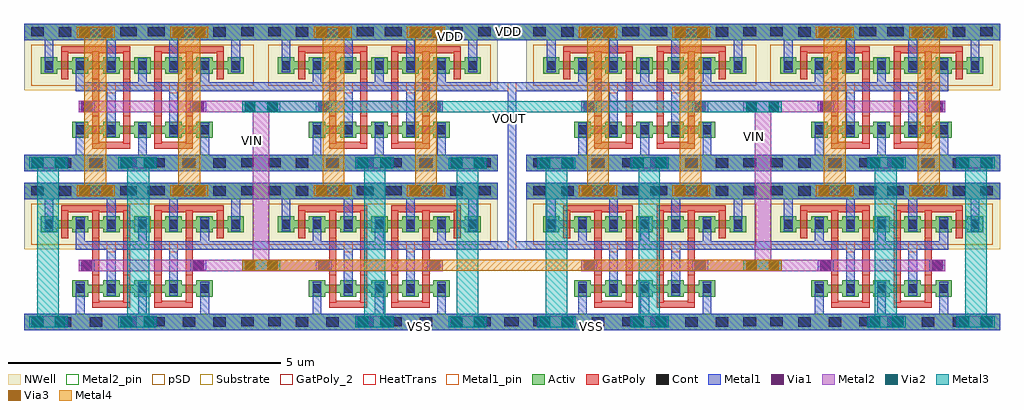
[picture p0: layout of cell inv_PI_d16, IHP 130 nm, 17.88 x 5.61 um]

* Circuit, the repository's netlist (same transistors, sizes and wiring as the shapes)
* Extracted by KLayout with SG13G2 LVS runset on : 20/01/2026 03:41

.SUBCKT inv_PI_d16 VDD VSS VOUT VIN
X$1 VOUT VIN VSS VDD inv_PI_d8
X$2 VOUT VIN VSS VDD inv_PI_d8
.ENDS inv_PI_d16

.SUBCKT inv_PI_d8 VOUT VIN VSS VDD
X$1 VSS VOUT VIN VDD inv_PI_d4
X$2 VSS VOUT VIN VDD inv_PI_d4
.ENDS inv_PI_d8

.SUBCKT inv_PI_d4 VSS VOUT VIN VDD
X$1 VSS VIN VOUT VDD inv_PI_d2
X$2 VSS VIN VOUT VDD inv_PI_d2
.ENDS inv_PI_d4

.SUBCKT inv_PI_d2 VSS VIN VOUT VDD
M$1 VSS VIN VOUT VSS sg13_lv_nmos L=0.13u W=0.6u AS=0.267p AD=0.267p PS=3.56u
+ PD=3.56u
M$5 VDD VIN VOUT VDD sg13_lv_pmos L=0.13u W=0.9u AS=0.378p AD=0.378p PS=5.04u
+ PD=5.04u
.ENDS inv_PI_d2

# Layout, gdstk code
from math import pi, radians
import gdstk
lib = gdstk.Library(unit=1e-6, precision=5e-09)
def R(c, l, rs):  # rectangles x0, y0, x1, y1
    for r in rs: c.add(gdstk.rectangle(r[:2], r[2:], *l))
def A(c, l, x, y, w, h, nx, ny, dx, dy):  # array of equal rectangles
    R(c, l, [(x+i*dx, y+j*dy, x+i*dx+w, y+j*dy+h) for i in range(nx) for j in range(ny)])
Activ = (1, 0)
GatPoly = (5, 0)
GatPoly_2 = (5, 2)
Cont = (6, 0)
Metal1 = (8, 0)
Metal1_pin = (8, 2)
Metal2 = (10, 0)
Metal2_pin = (10, 2)
pSD = (14, 0)
Via1 = (19, 0)
Via2 = (29, 0)
Metal3 = (30, 0)
NWell = (31, 0)
Substrate = (40, 0)
Via3 = (49, 0)
Metal4 = (50, 0)
HeatTrans = (51, 0)

pmos_1 = lib.new_cell('pmos$1')
A(pmos_1, Activ, 0, 0, 0.3, 0.3, 4, 1, 0.57, 0)
R(pmos_1, Activ, [(0,0.075,2.01,0.225)])
A(pmos_1, GatPoly, 0.37, -0.105, 0.13, 0.51, 3, 1, 0.57, 0)
R(pmos_1, GatPoly, [(0.37,-0.105,0.5,0.405)])
A(pmos_1, Cont, 0.07, 0.07, 0.16, 0.16, 4, 1, 0.57, 0)
A(pmos_1, Metal1, 0.64, 0.02, 0.16, 0.26, 3, 1, 0.57, 0)
R(pmos_1, Metal1, [(0.07,0.02,0.23,0.28), (0.07,0.02,0.23,0.28), (0.64,0.02,0.8,0.28)])
R(pmos_1, pSD, [(-0.18,-0.225,2.19,0.525)])
R(pmos_1, NWell, [(-0.31,-0.31,2.32,0.61)])
R(pmos_1, Substrate, [(1.71,0,2.01,0.3)])
A(pmos_1, HeatTrans, 0.37, -0.105, 0.13, 0.51, 3, 1, 0.57, 0)
pmos_1.add(gdstk.Label('pmos', (0.435,0.15), layer=63, texttype=0))
pmos_1.add(gdstk.Label('pmos', (0.435,0.15), layer=51, texttype=0))
pmos_1.add(gdstk.Label('pmos', (1.005,0.15), layer=51, texttype=0))
pmos_1.add(gdstk.Label('pmos', (1.575,0.15), layer=51, texttype=0))

nmos = lib.new_cell('nmos')
A(nmos, Activ, 0, 0, 0.3, 0.3, 3, 1, 0.57, 0)
R(nmos, Activ, [(0,0.075,1.44,0.225)])
R(nmos, GatPoly, [(0.37,-0.105,0.5,0.405), (0.94,-0.105,1.07,0.405)])
R(nmos, GatPoly_2, [(0.37,-0.105,0.5,0.405)])
A(nmos, Cont, 0.07, 0.07, 0.16, 0.16, 3, 1, 0.57, 0)
A(nmos, Metal1, 0.07, 0.02, 0.16, 0.26, 3, 1, 0.57, 0)
R(nmos, Metal1_pin, [(0.07,0.02,0.23,0.28), (0.64,0.02,0.8,0.28)])
R(nmos, HeatTrans, [(0.37,-0.105,0.5,0.405), (0.94,-0.105,1.07,0.405)])
nmos.add(gdstk.Label('nmos', (0.435,0.15), layer=63, texttype=0))
nmos.add(gdstk.Label('nmos', (0.435,0.15), layer=51, texttype=0))
nmos.add(gdstk.Label('nmos', (1.005,0.15), layer=51, texttype=0))

pmos_1_1 = lib.new_cell('pmos$1$1')
A(pmos_1_1, Activ, 0, 0, 0.3, 0.3, 4, 1, 0.57, 0)
R(pmos_1_1, Activ, [(0,0.075,2.01,0.225)])
A(pmos_1_1, GatPoly, 0.37, -0.105, 0.13, 0.51, 3, 1, 0.57, 0)
R(pmos_1_1, GatPoly, [(0.37,-0.105,0.5,0.405)])
A(pmos_1_1, Cont, 0.07, 0.07, 0.16, 0.16, 4, 1, 0.57, 0)
A(pmos_1_1, Metal1, 0.64, 0.02, 0.16, 0.26, 3, 1, 0.57, 0)
R(pmos_1_1, Metal1, [(0.07,0.02,0.23,0.28), (0.07,0.02,0.23,0.28), (0.64,0.02,0.8,0.28)])
R(pmos_1_1, pSD, [(-0.18,-0.225,2.19,0.525)])
R(pmos_1_1, NWell, [(-0.31,-0.31,2.32,0.61)])
R(pmos_1_1, Substrate, [(1.71,0,2.01,0.3)])
A(pmos_1_1, HeatTrans, 0.37, -0.105, 0.13, 0.51, 3, 1, 0.57, 0)
pmos_1_1.add(gdstk.Label('pmos', (0.435,0.15), layer=63, texttype=0))
pmos_1_1.add(gdstk.Label('pmos', (0.435,0.15), layer=51, texttype=0))
pmos_1_1.add(gdstk.Label('pmos', (1.005,0.15), layer=51, texttype=0))
pmos_1_1.add(gdstk.Label('pmos', (1.575,0.15), layer=51, texttype=0))

nmos_1 = lib.new_cell('nmos$1')
A(nmos_1, Activ, 0, 0, 0.3, 0.3, 3, 1, 0.57, 0)
R(nmos_1, Activ, [(0,0.075,1.44,0.225)])
R(nmos_1, GatPoly, [(0.37,-0.105,0.5,0.405), (0.94,-0.105,1.07,0.405)])
R(nmos_1, GatPoly_2, [(0.37,-0.105,0.5,0.405)])
A(nmos_1, Cont, 0.07, 0.07, 0.16, 0.16, 3, 1, 0.57, 0)
A(nmos_1, Metal1, 0.07, 0.02, 0.16, 0.26, 3, 1, 0.57, 0)
R(nmos_1, Metal1_pin, [(0.07,0.02,0.23,0.28), (0.64,0.02,0.8,0.28)])
R(nmos_1, HeatTrans, [(0.37,-0.105,0.5,0.405), (0.94,-0.105,1.07,0.405)])
nmos_1.add(gdstk.Label('nmos', (0.435,0.15), layer=63, texttype=0))
nmos_1.add(gdstk.Label('nmos', (0.435,0.15), layer=51, texttype=0))
nmos_1.add(gdstk.Label('nmos', (1.005,0.15), layer=51, texttype=0))

pmos_1_2 = lib.new_cell('pmos$1$2')
A(pmos_1_2, Activ, 0, 0, 0.3, 0.3, 4, 1, 0.57, 0)
R(pmos_1_2, Activ, [(0,0.075,2.01,0.225)])
A(pmos_1_2, GatPoly, 0.37, -0.105, 0.13, 0.51, 3, 1, 0.57, 0)
R(pmos_1_2, GatPoly, [(0.37,-0.105,0.5,0.405)])
A(pmos_1_2, Cont, 0.07, 0.07, 0.16, 0.16, 4, 1, 0.57, 0)
A(pmos_1_2, Metal1, 0.64, 0.02, 0.16, 0.26, 3, 1, 0.57, 0)
R(pmos_1_2, Metal1, [(0.07,0.02,0.23,0.28), (0.07,0.02,0.23,0.28), (0.64,0.02,0.8,0.28)])
R(pmos_1_2, pSD, [(-0.18,-0.225,2.19,0.525)])
R(pmos_1_2, NWell, [(-0.31,-0.31,2.32,0.61)])
R(pmos_1_2, Substrate, [(1.71,0,2.01,0.3)])
A(pmos_1_2, HeatTrans, 0.37, -0.105, 0.13, 0.51, 3, 1, 0.57, 0)
pmos_1_2.add(gdstk.Label('pmos', (0.435,0.15), layer=63, texttype=0))
pmos_1_2.add(gdstk.Label('pmos', (0.435,0.15), layer=51, texttype=0))
pmos_1_2.add(gdstk.Label('pmos', (1.005,0.15), layer=51, texttype=0))
pmos_1_2.add(gdstk.Label('pmos', (1.575,0.15), layer=51, texttype=0))

nmos_2 = lib.new_cell('nmos$2')
A(nmos_2, Activ, 0, 0, 0.3, 0.3, 3, 1, 0.57, 0)
R(nmos_2, Activ, [(0,0.075,1.44,0.225)])
R(nmos_2, GatPoly, [(0.37,-0.105,0.5,0.405), (0.94,-0.105,1.07,0.405)])
R(nmos_2, GatPoly_2, [(0.37,-0.105,0.5,0.405)])
A(nmos_2, Cont, 0.07, 0.07, 0.16, 0.16, 3, 1, 0.57, 0)
A(nmos_2, Metal1, 0.07, 0.02, 0.16, 0.26, 3, 1, 0.57, 0)
R(nmos_2, Metal1_pin, [(0.07,0.02,0.23,0.28), (0.64,0.02,0.8,0.28)])
R(nmos_2, HeatTrans, [(0.37,-0.105,0.5,0.405), (0.94,-0.105,1.07,0.405)])
nmos_2.add(gdstk.Label('nmos', (0.435,0.15), layer=63, texttype=0))
nmos_2.add(gdstk.Label('nmos', (0.435,0.15), layer=51, texttype=0))
nmos_2.add(gdstk.Label('nmos', (1.005,0.15), layer=51, texttype=0))

pmos_1_3 = lib.new_cell('pmos$1$3')
A(pmos_1_3, Activ, 0, 0, 0.3, 0.3, 4, 1, 0.57, 0)
R(pmos_1_3, Activ, [(0,0.075,2.01,0.225)])
A(pmos_1_3, GatPoly, 0.37, -0.105, 0.13, 0.51, 3, 1, 0.57, 0)
R(pmos_1_3, GatPoly, [(0.37,-0.105,0.5,0.405)])
A(pmos_1_3, Cont, 0.07, 0.07, 0.16, 0.16, 4, 1, 0.57, 0)
A(pmos_1_3, Metal1, 0.64, 0.02, 0.16, 0.26, 3, 1, 0.57, 0)
R(pmos_1_3, Metal1, [(0.07,0.02,0.23,0.28), (0.07,0.02,0.23,0.28), (0.64,0.02,0.8,0.28)])
R(pmos_1_3, pSD, [(-0.18,-0.225,2.19,0.525)])
R(pmos_1_3, NWell, [(-0.31,-0.31,2.32,0.61)])
R(pmos_1_3, Substrate, [(1.71,0,2.01,0.3)])
A(pmos_1_3, HeatTrans, 0.37, -0.105, 0.13, 0.51, 3, 1, 0.57, 0)
pmos_1_3.add(gdstk.Label('pmos', (0.435,0.15), layer=63, texttype=0))
pmos_1_3.add(gdstk.Label('pmos', (0.435,0.15), layer=51, texttype=0))
pmos_1_3.add(gdstk.Label('pmos', (1.005,0.15), layer=51, texttype=0))
pmos_1_3.add(gdstk.Label('pmos', (1.575,0.15), layer=51, texttype=0))

nmos_3 = lib.new_cell('nmos$3')
A(nmos_3, Activ, 0, 0, 0.3, 0.3, 3, 1, 0.57, 0)
R(nmos_3, Activ, [(0,0.075,1.44,0.225)])
R(nmos_3, GatPoly, [(0.37,-0.105,0.5,0.405), (0.94,-0.105,1.07,0.405)])
R(nmos_3, GatPoly_2, [(0.37,-0.105,0.5,0.405)])
A(nmos_3, Cont, 0.07, 0.07, 0.16, 0.16, 3, 1, 0.57, 0)
A(nmos_3, Metal1, 0.07, 0.02, 0.16, 0.26, 3, 1, 0.57, 0)
R(nmos_3, Metal1_pin, [(0.07,0.02,0.23,0.28), (0.64,0.02,0.8,0.28)])
R(nmos_3, HeatTrans, [(0.37,-0.105,0.5,0.405), (0.94,-0.105,1.07,0.405)])
nmos_3.add(gdstk.Label('nmos', (0.435,0.15), layer=63, texttype=0))
nmos_3.add(gdstk.Label('nmos', (0.435,0.15), layer=51, texttype=0))
nmos_3.add(gdstk.Label('nmos', (1.005,0.15), layer=51, texttype=0))

pmos_1_4 = lib.new_cell('pmos$1$4')
A(pmos_1_4, Activ, 0, 0, 0.3, 0.3, 4, 1, 0.57, 0)
R(pmos_1_4, Activ, [(0,0.075,2.01,0.225)])
A(pmos_1_4, GatPoly, 0.37, -0.105, 0.13, 0.51, 3, 1, 0.57, 0)
R(pmos_1_4, GatPoly, [(0.37,-0.105,0.5,0.405)])
A(pmos_1_4, Cont, 0.07, 0.07, 0.16, 0.16, 4, 1, 0.57, 0)
A(pmos_1_4, Metal1, 0.64, 0.02, 0.16, 0.26, 3, 1, 0.57, 0)
R(pmos_1_4, Metal1, [(0.07,0.02,0.23,0.28), (0.07,0.02,0.23,0.28), (0.64,0.02,0.8,0.28)])
R(pmos_1_4, pSD, [(-0.18,-0.225,2.19,0.525)])
R(pmos_1_4, NWell, [(-0.31,-0.31,2.32,0.61)])
R(pmos_1_4, Substrate, [(1.71,0,2.01,0.3)])
A(pmos_1_4, HeatTrans, 0.37, -0.105, 0.13, 0.51, 3, 1, 0.57, 0)
pmos_1_4.add(gdstk.Label('pmos', (0.435,0.15), layer=63, texttype=0))
pmos_1_4.add(gdstk.Label('pmos', (0.435,0.15), layer=51, texttype=0))
pmos_1_4.add(gdstk.Label('pmos', (1.005,0.15), layer=51, texttype=0))
pmos_1_4.add(gdstk.Label('pmos', (1.575,0.15), layer=51, texttype=0))

nmos_4 = lib.new_cell('nmos$4')
A(nmos_4, Activ, 0, 0, 0.3, 0.3, 3, 1, 0.57, 0)
R(nmos_4, Activ, [(0,0.075,1.44,0.225)])
R(nmos_4, GatPoly, [(0.37,-0.105,0.5,0.405), (0.94,-0.105,1.07,0.405)])
R(nmos_4, GatPoly_2, [(0.37,-0.105,0.5,0.405)])
A(nmos_4, Cont, 0.07, 0.07, 0.16, 0.16, 3, 1, 0.57, 0)
A(nmos_4, Metal1, 0.07, 0.02, 0.16, 0.26, 3, 1, 0.57, 0)
R(nmos_4, Metal1_pin, [(0.07,0.02,0.23,0.28), (0.64,0.02,0.8,0.28)])
R(nmos_4, HeatTrans, [(0.37,-0.105,0.5,0.405), (0.94,-0.105,1.07,0.405)])
nmos_4.add(gdstk.Label('nmos', (0.435,0.15), layer=63, texttype=0))
nmos_4.add(gdstk.Label('nmos', (0.435,0.15), layer=51, texttype=0))
nmos_4.add(gdstk.Label('nmos', (1.005,0.15), layer=51, texttype=0))

pmos_1_1_1 = lib.new_cell('pmos$1$1$1')
A(pmos_1_1_1, Activ, 0, 0, 0.3, 0.3, 4, 1, 0.57, 0)
R(pmos_1_1_1, Activ, [(0,0.075,2.01,0.225)])
A(pmos_1_1_1, GatPoly, 0.37, -0.105, 0.13, 0.51, 3, 1, 0.57, 0)
R(pmos_1_1_1, GatPoly, [(0.37,-0.105,0.5,0.405)])
A(pmos_1_1_1, Cont, 0.07, 0.07, 0.16, 0.16, 4, 1, 0.57, 0)
A(pmos_1_1_1, Metal1, 0.64, 0.02, 0.16, 0.26, 3, 1, 0.57, 0)
R(pmos_1_1_1, Metal1, [(0.07,0.02,0.23,0.28), (0.07,0.02,0.23,0.28), (0.64,0.02,0.8,0.28)])
R(pmos_1_1_1, pSD, [(-0.18,-0.225,2.19,0.525)])
R(pmos_1_1_1, NWell, [(-0.31,-0.31,2.32,0.61)])
R(pmos_1_1_1, Substrate, [(1.71,0,2.01,0.3)])
A(pmos_1_1_1, HeatTrans, 0.37, -0.105, 0.13, 0.51, 3, 1, 0.57, 0)
pmos_1_1_1.add(gdstk.Label('pmos', (0.435,0.15), layer=63, texttype=0))
pmos_1_1_1.add(gdstk.Label('pmos', (0.435,0.15), layer=51, texttype=0))
pmos_1_1_1.add(gdstk.Label('pmos', (1.005,0.15), layer=51, texttype=0))
pmos_1_1_1.add(gdstk.Label('pmos', (1.575,0.15), layer=51, texttype=0))

nmos_1_1 = lib.new_cell('nmos$1$1')
A(nmos_1_1, Activ, 0, 0, 0.3, 0.3, 3, 1, 0.57, 0)
R(nmos_1_1, Activ, [(0,0.075,1.44,0.225)])
R(nmos_1_1, GatPoly, [(0.37,-0.105,0.5,0.405), (0.94,-0.105,1.07,0.405)])
R(nmos_1_1, GatPoly_2, [(0.37,-0.105,0.5,0.405)])
A(nmos_1_1, Cont, 0.07, 0.07, 0.16, 0.16, 3, 1, 0.57, 0)
A(nmos_1_1, Metal1, 0.07, 0.02, 0.16, 0.26, 3, 1, 0.57, 0)
R(nmos_1_1, Metal1_pin, [(0.07,0.02,0.23,0.28), (0.64,0.02,0.8,0.28)])
R(nmos_1_1, HeatTrans, [(0.37,-0.105,0.5,0.405), (0.94,-0.105,1.07,0.405)])
nmos_1_1.add(gdstk.Label('nmos', (0.435,0.15), layer=63, texttype=0))
nmos_1_1.add(gdstk.Label('nmos', (0.435,0.15), layer=51, texttype=0))
nmos_1_1.add(gdstk.Label('nmos', (1.005,0.15), layer=51, texttype=0))

pmos_1_5 = lib.new_cell('pmos$1$5')
A(pmos_1_5, Activ, 0, 0, 0.3, 0.3, 4, 1, 0.57, 0)
R(pmos_1_5, Activ, [(0,0.075,2.01,0.225)])
A(pmos_1_5, GatPoly, 0.37, -0.105, 0.13, 0.51, 3, 1, 0.57, 0)
R(pmos_1_5, GatPoly, [(0.37,-0.105,0.5,0.405)])
A(pmos_1_5, Cont, 0.07, 0.07, 0.16, 0.16, 4, 1, 0.57, 0)
A(pmos_1_5, Metal1, 0.64, 0.02, 0.16, 0.26, 3, 1, 0.57, 0)
R(pmos_1_5, Metal1, [(0.07,0.02,0.23,0.28), (0.07,0.02,0.23,0.28), (0.64,0.02,0.8,0.28)])
R(pmos_1_5, pSD, [(-0.18,-0.225,2.19,0.525)])
R(pmos_1_5, NWell, [(-0.31,-0.31,2.32,0.61)])
R(pmos_1_5, Substrate, [(1.71,0,2.01,0.3)])
A(pmos_1_5, HeatTrans, 0.37, -0.105, 0.13, 0.51, 3, 1, 0.57, 0)
pmos_1_5.add(gdstk.Label('pmos', (0.435,0.15), layer=63, texttype=0))
pmos_1_5.add(gdstk.Label('pmos', (0.435,0.15), layer=51, texttype=0))
pmos_1_5.add(gdstk.Label('pmos', (1.005,0.15), layer=51, texttype=0))
pmos_1_5.add(gdstk.Label('pmos', (1.575,0.15), layer=51, texttype=0))

nmos_5 = lib.new_cell('nmos$5')
A(nmos_5, Activ, 0, 0, 0.3, 0.3, 3, 1, 0.57, 0)
R(nmos_5, Activ, [(0,0.075,1.44,0.225)])
R(nmos_5, GatPoly, [(0.37,-0.105,0.5,0.405), (0.94,-0.105,1.07,0.405)])
R(nmos_5, GatPoly_2, [(0.37,-0.105,0.5,0.405)])
A(nmos_5, Cont, 0.07, 0.07, 0.16, 0.16, 3, 1, 0.57, 0)
A(nmos_5, Metal1, 0.07, 0.02, 0.16, 0.26, 3, 1, 0.57, 0)
R(nmos_5, Metal1_pin, [(0.07,0.02,0.23,0.28), (0.64,0.02,0.8,0.28)])
R(nmos_5, HeatTrans, [(0.37,-0.105,0.5,0.405), (0.94,-0.105,1.07,0.405)])
nmos_5.add(gdstk.Label('nmos', (0.435,0.15), layer=63, texttype=0))
nmos_5.add(gdstk.Label('nmos', (0.435,0.15), layer=51, texttype=0))
nmos_5.add(gdstk.Label('nmos', (1.005,0.15), layer=51, texttype=0))

pmos_1_6 = lib.new_cell('pmos$1$6')
A(pmos_1_6, Activ, 0, 0, 0.3, 0.3, 4, 1, 0.57, 0)
R(pmos_1_6, Activ, [(0,0.075,2.01,0.225)])
A(pmos_1_6, GatPoly, 0.37, -0.105, 0.13, 0.51, 3, 1, 0.57, 0)
R(pmos_1_6, GatPoly, [(0.37,-0.105,0.5,0.405)])
A(pmos_1_6, Cont, 0.07, 0.07, 0.16, 0.16, 4, 1, 0.57, 0)
A(pmos_1_6, Metal1, 0.64, 0.02, 0.16, 0.26, 3, 1, 0.57, 0)
R(pmos_1_6, Metal1, [(0.07,0.02,0.23,0.28), (0.07,0.02,0.23,0.28), (0.64,0.02,0.8,0.28)])
R(pmos_1_6, pSD, [(-0.18,-0.225,2.19,0.525)])
R(pmos_1_6, NWell, [(-0.31,-0.31,2.32,0.61)])
R(pmos_1_6, Substrate, [(1.71,0,2.01,0.3)])
A(pmos_1_6, HeatTrans, 0.37, -0.105, 0.13, 0.51, 3, 1, 0.57, 0)
pmos_1_6.add(gdstk.Label('pmos', (0.435,0.15), layer=63, texttype=0))
pmos_1_6.add(gdstk.Label('pmos', (0.435,0.15), layer=51, texttype=0))
pmos_1_6.add(gdstk.Label('pmos', (1.005,0.15), layer=51, texttype=0))
pmos_1_6.add(gdstk.Label('pmos', (1.575,0.15), layer=51, texttype=0))

nmos_6 = lib.new_cell('nmos$6')
A(nmos_6, Activ, 0, 0, 0.3, 0.3, 3, 1, 0.57, 0)
R(nmos_6, Activ, [(0,0.075,1.44,0.225)])
R(nmos_6, GatPoly, [(0.37,-0.105,0.5,0.405), (0.94,-0.105,1.07,0.405)])
R(nmos_6, GatPoly_2, [(0.37,-0.105,0.5,0.405)])
A(nmos_6, Cont, 0.07, 0.07, 0.16, 0.16, 3, 1, 0.57, 0)
A(nmos_6, Metal1, 0.07, 0.02, 0.16, 0.26, 3, 1, 0.57, 0)
R(nmos_6, Metal1_pin, [(0.07,0.02,0.23,0.28), (0.64,0.02,0.8,0.28)])
R(nmos_6, HeatTrans, [(0.37,-0.105,0.5,0.405), (0.94,-0.105,1.07,0.405)])
nmos_6.add(gdstk.Label('nmos', (0.435,0.15), layer=63, texttype=0))
nmos_6.add(gdstk.Label('nmos', (0.435,0.15), layer=51, texttype=0))
nmos_6.add(gdstk.Label('nmos', (1.005,0.15), layer=51, texttype=0))

inv_pi = lib.new_cell('inv_PI')
R(inv_pi, Activ, [(1.76,2.245,4.39,2.545), (1.76,2.245,4.39,2.545), (1.76,2.245,4.39,2.545), (1.76,2.245,4.39,2.545), (1.76,2.245,4.39,2.545), (1.76,2.245,4.39,2.545), (1.76,2.245,4.39,2.545), (1.76,2.245,4.39,2.545), (1.76,4.645,4.39,4.945), (1.76,4.645,4.39,4.945), (1.76,4.645,4.39,4.945), (1.76,4.645,4.39,4.945), (1.76,4.645,4.39,4.945), (1.76,4.645,4.39,4.945), (1.76,4.645,4.39,4.945), (1.76,4.645,4.39,4.945)])
R(inv_pi, GatPoly, [(3.01,2.655,3.14,4.535), (3.01,2.655,3.14,4.535), (3.01,2.655,3.14,4.535), (3.01,2.655,3.14,4.535), (3.01,2.655,3.14,4.535), (3.01,2.655,3.14,4.535), (3.01,2.655,3.14,4.535), (3.01,2.655,3.14,4.535), (3.01,2.655,3.71,2.785), (3.01,2.655,3.71,2.785), (3.01,2.655,3.71,2.785), (3.01,2.655,3.71,2.785), (3.01,2.655,3.71,2.785), (3.01,2.655,3.71,2.785), (3.01,2.655,3.71,2.785), (3.01,2.655,3.71,2.785), (3.58,2.655,3.71,4.535), (3.58,2.655,3.71,4.535), (3.58,2.655,3.71,4.535), (3.58,2.655,3.71,4.535), (3.58,2.655,3.71,4.535), (3.58,2.655,3.71,4.535), (3.58,2.655,3.71,4.535), (3.58,2.655,3.71,4.535), (2.81,3.33,3.01,3.53), (2.81,3.33,3.01,3.53), (2.81,3.33,3.01,3.53), (2.81,3.33,3.01,3.53), (2.81,3.33,3.01,3.53), (2.81,3.33,3.01,3.53), (2.81,3.33,3.01,3.53), (2.81,3.33,3.01,3.53), (2.44,3.93,2.57,4.535), (2.44,3.93,2.57,4.535), (2.44,3.93,2.57,4.535), (2.44,3.93,2.57,4.535), (2.44,3.93,2.57,4.535), (2.44,3.93,2.57,4.535), (2.44,3.93,2.57,4.535), (2.44,3.93,2.57,4.535), (2.44,4.405,3.71,4.535), (2.44,4.405,3.71,4.535), (2.44,4.405,3.71,4.535), (2.44,4.405,3.71,4.535), (2.44,4.405,3.71,4.535), (2.44,4.405,3.71,4.535), (2.44,4.405,3.71,4.535), (2.44,4.405,3.71,4.535)])
R(inv_pi, Cont, [(2.4,2.31,2.63,2.48), (2.4,2.31,2.63,2.48), (2.4,2.31,2.63,2.48), (2.4,2.31,2.63,2.48), (2.4,2.31,2.63,2.48), (2.4,2.31,2.63,2.48), (2.4,2.31,2.63,2.48), (2.4,2.31,2.63,2.48), (2.96,2.31,3.19,2.48), (2.96,2.31,3.19,2.48), (2.96,2.31,3.19,2.48), (2.96,2.31,3.19,2.48), (2.96,2.31,3.19,2.48), (2.96,2.31,3.19,2.48), (2.96,2.31,3.19,2.48), (2.96,2.31,3.19,2.48), (1.89,2.315,2.12,2.485), (1.89,2.315,2.12,2.485), (1.89,2.315,2.12,2.485), (1.89,2.315,2.12,2.485), (1.89,2.315,2.12,2.485), (1.89,2.315,2.12,2.485), (1.89,2.315,2.12,2.485), (1.89,2.315,2.12,2.485), (3.52,2.315,3.75,2.485), (3.52,2.315,3.75,2.485), (3.52,2.315,3.75,2.485), (3.52,2.315,3.75,2.485), (3.52,2.315,3.75,2.485), (3.52,2.315,3.75,2.485), (3.52,2.315,3.75,2.485), (3.52,2.315,3.75,2.485), (4.03,2.315,4.26,2.485), (4.03,2.315,4.26,2.485), (4.03,2.315,4.26,2.485), (4.03,2.315,4.26,2.485), (4.03,2.315,4.26,2.485), (4.03,2.315,4.26,2.485), (4.03,2.315,4.26,2.485), (4.03,2.315,4.26,2.485), (2.81,3.33,3.01,3.53), (2.81,3.33,3.01,3.53), (2.81,3.33,3.01,3.53), (2.81,3.33,3.01,3.53), (2.81,3.33,3.01,3.53), (2.81,3.33,3.01,3.53), (2.81,3.33,3.01,3.53), (2.81,3.33,3.01,3.53), (2.4,4.71,2.63,4.88), (2.4,4.71,2.63,4.88), (2.4,4.71,2.63,4.88), (2.4,4.71,2.63,4.88), (2.4,4.71,2.63,4.88), (2.4,4.71,2.63,4.88), (2.4,4.71,2.63,4.88), (2.4,4.71,2.63,4.88), (2.96,4.71,3.19,4.88), (2.96,4.71,3.19,4.88), (2.96,4.71,3.19,4.88), (2.96,4.71,3.19,4.88), (2.96,4.71,3.19,4.88), (2.96,4.71,3.19,4.88), (2.96,4.71,3.19,4.88), (2.96,4.71,3.19,4.88), (1.89,4.715,2.12,4.885), (1.89,4.715,2.12,4.885), (1.89,4.715,2.12,4.885), (1.89,4.715,2.12,4.885), (1.89,4.715,2.12,4.885), (1.89,4.715,2.12,4.885), (1.89,4.715,2.12,4.885), (1.89,4.715,2.12,4.885), (3.52,4.715,3.75,4.885), (3.52,4.715,3.75,4.885), (3.52,4.715,3.75,4.885), (3.52,4.715,3.75,4.885), (3.52,4.715,3.75,4.885), (3.52,4.715,3.75,4.885), (3.52,4.715,3.75,4.885), (3.52,4.715,3.75,4.885), (4.03,4.715,4.26,4.885), (4.03,4.715,4.26,4.885), (4.03,4.715,4.26,4.885), (4.03,4.715,4.26,4.885), (4.03,4.715,4.26,4.885), (4.03,4.715,4.26,4.885), (4.03,4.715,4.26,4.885), (4.03,4.715,4.26,4.885)])
R(inv_pi, Metal1, [(1.76,2.245,4.39,2.545), (1.76,2.245,4.39,2.545), (1.76,2.245,4.39,2.545), (1.76,2.245,4.39,2.545), (1.76,2.245,4.39,2.545), (1.76,2.245,4.39,2.545), (1.76,2.245,4.39,2.545), (1.76,2.245,4.39,2.545), (2.71,2.245,2.87,3.135), (2.71,2.245,2.87,3.135), (2.71,2.245,2.87,3.135), (2.71,2.245,2.87,3.135), (2.71,2.245,2.87,3.135), (2.71,2.245,2.87,3.135), (2.71,2.245,2.87,3.135), (2.71,2.245,2.87,3.135), (3.85,2.245,4.01,3.135), (3.85,2.245,4.01,3.135), (3.85,2.245,4.01,3.135), (3.85,2.245,4.01,3.135), (3.85,2.245,4.01,3.135), (3.85,2.245,4.01,3.135), (3.85,2.245,4.01,3.135), (3.85,2.245,4.01,3.135), (3.28,2.885,3.44,3.875), (3.28,2.885,3.44,3.875), (3.28,2.885,3.44,3.875), (3.28,2.885,3.44,3.875), (3.28,2.885,3.44,3.875), (3.28,2.885,3.44,3.875), (3.28,2.885,3.44,3.875), (3.28,2.885,3.44,3.875), (2.81,3.33,3.01,3.53), (2.81,3.33,3.01,3.53), (2.81,3.33,3.01,3.53), (2.81,3.33,3.01,3.53), (2.81,3.33,3.01,3.53), (2.81,3.33,3.01,3.53), (2.81,3.33,3.01,3.53), (2.81,3.33,3.01,3.53), (2.71,3.715,4.01,3.875), (2.71,3.715,4.01,3.875), (2.71,3.715,4.01,3.875), (2.71,3.715,4.01,3.875), (2.71,3.715,4.01,3.875), (2.71,3.715,4.01,3.875), (2.71,3.715,4.01,3.875), (2.71,3.715,4.01,3.875), (2.71,3.72,2.87,4.315), (2.71,3.72,2.87,4.315), (2.71,3.72,2.87,4.315), (2.71,3.72,2.87,4.315), (2.71,3.72,2.87,4.315), (2.71,3.72,2.87,4.315), (2.71,3.72,2.87,4.315), (2.71,3.72,2.87,4.315), (3.85,3.72,4.01,4.315), (3.85,3.72,4.01,4.315), (3.85,3.72,4.01,4.315), (3.85,3.72,4.01,4.315), (3.85,3.72,4.01,4.315), (3.85,3.72,4.01,4.315), (3.85,3.72,4.01,4.315), (3.85,3.72,4.01,4.315), (2.14,4.105,2.3,4.945), (2.14,4.105,2.3,4.945), (2.14,4.105,2.3,4.945), (2.14,4.105,2.3,4.945), (2.14,4.105,2.3,4.945), (2.14,4.105,2.3,4.945), (2.14,4.105,2.3,4.945), (2.14,4.105,2.3,4.945), (3.28,4.105,3.44,4.945), (3.28,4.105,3.44,4.945), (3.28,4.105,3.44,4.945), (3.28,4.105,3.44,4.945), (3.28,4.105,3.44,4.945), (3.28,4.105,3.44,4.945), (3.28,4.105,3.44,4.945), (3.28,4.105,3.44,4.945), (1.76,4.645,4.39,4.945), (1.76,4.645,4.39,4.945), (1.76,4.645,4.39,4.945), (1.76,4.645,4.39,4.945), (1.76,4.645,4.39,4.945), (1.76,4.645,4.39,4.945), (1.76,4.645,4.39,4.945), (1.76,4.645,4.39,4.945)])
R(inv_pi, Metal1_pin, [(1.76,2.245,4.39,2.545), (1.76,2.245,4.39,2.545), (1.76,2.245,4.39,2.545), (1.76,2.245,4.39,2.545), (1.76,2.245,4.39,2.545), (1.76,2.245,4.39,2.545), (1.76,2.245,4.39,2.545), (1.76,2.245,4.39,2.545), (2.81,3.33,3.01,3.53), (2.81,3.33,3.01,3.53), (2.81,3.33,3.01,3.53), (2.81,3.33,3.01,3.53), (2.81,3.33,3.01,3.53), (2.81,3.33,3.01,3.53), (2.81,3.33,3.01,3.53), (2.81,3.33,3.01,3.53), (3.28,3.675,3.44,3.875), (3.28,3.675,3.44,3.875), (3.28,3.675,3.44,3.875), (3.28,3.675,3.44,3.875), (3.28,3.675,3.44,3.875), (3.28,3.675,3.44,3.875), (3.28,3.675,3.44,3.875), (3.28,3.675,3.44,3.875), (1.76,4.645,4.39,4.945), (1.76,4.645,4.39,4.945), (1.76,4.645,4.39,4.945), (1.76,4.645,4.39,4.945), (1.76,4.645,4.39,4.945), (1.76,4.645,4.39,4.945), (1.76,4.645,4.39,4.945), (1.76,4.645,4.39,4.945)])
R(inv_pi, pSD, [(1.76,2.245,4.39,2.545), (1.76,2.245,4.39,2.545), (1.76,2.245,4.39,2.545), (1.76,2.245,4.39,2.545), (1.76,2.245,4.39,2.545), (1.76,2.245,4.39,2.545), (1.76,2.245,4.39,2.545), (1.76,2.245,4.39,2.545)])
R(inv_pi, NWell, [(1.76,4.645,4.39,4.945), (1.76,4.645,4.39,4.945), (1.76,4.645,4.39,4.945), (1.76,4.645,4.39,4.945), (1.76,4.645,4.39,4.945), (1.76,4.645,4.39,4.945), (1.76,4.645,4.39,4.945), (1.76,4.645,4.39,4.945)])
inv_pi.add(gdstk.Reference(pmos_1, (2.07,4.035)))
inv_pi.add(gdstk.Reference(nmos, (2.64,2.855)))
inv_pi.add(gdstk.Reference(pmos_1_1, (2.07,4.035)))
inv_pi.add(gdstk.Reference(nmos_1, (2.64,2.855)))
inv_pi.add(gdstk.Reference(pmos_1_2, (2.07,4.035)))
inv_pi.add(gdstk.Reference(nmos_2, (2.64,2.855)))
inv_pi.add(gdstk.Reference(pmos_1_3, (2.07,4.035)))
inv_pi.add(gdstk.Reference(nmos_3, (2.64,2.855)))
inv_pi.add(gdstk.Reference(pmos_1_4, (2.07,4.035)))
inv_pi.add(gdstk.Reference(nmos_4, (2.64,2.855)))
inv_pi.add(gdstk.Reference(pmos_1_1_1, (2.07,4.035)))
inv_pi.add(gdstk.Reference(nmos_1_1, (2.64,2.855)))
inv_pi.add(gdstk.Reference(pmos_1_5, (2.07,4.035)))
inv_pi.add(gdstk.Reference(nmos_5, (2.64,2.855)))
inv_pi.add(gdstk.Reference(pmos_1_6, (2.07,4.035)))
inv_pi.add(gdstk.Reference(nmos_6, (2.64,2.855)))
inv_pi.add(gdstk.Label('VDD', (3.075,4.795), layer=8, texttype=25))
inv_pi.add(gdstk.Label('VSS', (3.025,2.36), layer=8, texttype=25))
inv_pi.add(gdstk.Label('VIN', (2.85,3.365), layer=8, texttype=25))
inv_pi.add(gdstk.Label('VOUT', (3.28,3.75), layer=8, texttype=25))
inv_pi.add(gdstk.Label('VDD', (3.075,4.795), layer=8, texttype=25))
inv_pi.add(gdstk.Label('VSS', (3.025,2.36), layer=8, texttype=25))
inv_pi.add(gdstk.Label('VIN', (2.85,3.365), layer=8, texttype=25))
inv_pi.add(gdstk.Label('VOUT', (3.28,3.75), layer=8, texttype=25))
inv_pi.add(gdstk.Label('VDD', (3.075,4.795), layer=8, texttype=25))
inv_pi.add(gdstk.Label('VSS', (3.025,2.36), layer=8, texttype=25))
inv_pi.add(gdstk.Label('VIN', (2.85,3.365), layer=8, texttype=25))
inv_pi.add(gdstk.Label('VOUT', (3.28,3.75), layer=8, texttype=25))
inv_pi.add(gdstk.Label('VDD', (3.075,4.795), layer=8, texttype=25))
inv_pi.add(gdstk.Label('VSS', (3.025,2.36), layer=8, texttype=25))
inv_pi.add(gdstk.Label('VIN', (2.85,3.365), layer=8, texttype=25))
inv_pi.add(gdstk.Label('VOUT', (3.28,3.75), layer=8, texttype=25))
inv_pi.add(gdstk.Label('VDD', (3.075,4.795), layer=8, texttype=25))
inv_pi.add(gdstk.Label('VSS', (3.025,2.36), layer=8, texttype=25))
inv_pi.add(gdstk.Label('VIN', (2.85,3.365), layer=8, texttype=25))
inv_pi.add(gdstk.Label('VOUT', (3.28,3.75), layer=8, texttype=25))
inv_pi.add(gdstk.Label('VDD', (3.075,4.795), layer=8, texttype=25))
inv_pi.add(gdstk.Label('VSS', (3.025,2.36), layer=8, texttype=25))
inv_pi.add(gdstk.Label('VIN', (2.85,3.365), layer=8, texttype=25))
inv_pi.add(gdstk.Label('VOUT', (3.28,3.75), layer=8, texttype=25))
inv_pi.add(gdstk.Label('VDD', (3.075,4.795), layer=8, texttype=25))
inv_pi.add(gdstk.Label('VSS', (3.025,2.36), layer=8, texttype=25))
inv_pi.add(gdstk.Label('VIN', (2.85,3.365), layer=8, texttype=25))
inv_pi.add(gdstk.Label('VOUT', (3.28,3.75), layer=8, texttype=25))
inv_pi.add(gdstk.Label('VDD', (3.075,4.795), layer=8, texttype=25))
inv_pi.add(gdstk.Label('VSS', (3.025,2.36), layer=8, texttype=25))
inv_pi.add(gdstk.Label('VIN', (2.85,3.365), layer=8, texttype=25))
inv_pi.add(gdstk.Label('VOUT', (3.28,3.75), layer=8, texttype=25))

via_stack_1 = lib.new_cell('via_stack$1')
R(via_stack_1, Metal1, [(-0.145,-0.105,0.145,0.105)])
R(via_stack_1, Metal2, [(-0.145,-0.1,0.145,0.1)])
R(via_stack_1, Via1, [(-0.095,-0.095,0.095,0.095)])

via_stack_1_1 = lib.new_cell('via_stack$1$1')
R(via_stack_1_1, Metal1, [(-0.145,-0.105,0.145,0.105)])
R(via_stack_1_1, Metal2, [(-0.145,-0.1,0.145,0.1)])
R(via_stack_1_1, Via1, [(-0.095,-0.095,0.095,0.095)])

via_stack_1_2 = lib.new_cell('via_stack$1$2')
R(via_stack_1_2, Metal1, [(-0.145,-0.105,0.145,0.105)])
R(via_stack_1_2, Metal2, [(-0.145,-0.1,0.145,0.1)])
R(via_stack_1_2, Via1, [(-0.095,-0.095,0.095,0.095)])

via_stack_1_3 = lib.new_cell('via_stack$1$3')
R(via_stack_1_3, Metal1, [(-0.145,-0.105,0.145,0.105)])
R(via_stack_1_3, Metal2, [(-0.145,-0.1,0.145,0.1)])
R(via_stack_1_3, Via1, [(-0.095,-0.095,0.095,0.095)])

inv_pi_d2 = lib.new_cell('inv_PI_d2')
R(inv_pi_d2, Metal2, [(2.765,3.325,5.095,3.535), (2.765,3.325,5.095,3.535), (2.765,3.325,5.095,3.535), (2.765,3.325,5.095,3.535)])
inv_pi_d2.add(gdstk.Reference(inv_pi, (0,0)))
inv_pi_d2.add(gdstk.Reference(inv_pi, (7.86,0), rotation=pi, x_reflection=True))
inv_pi_d2.add(gdstk.Reference(via_stack_1, (2.91,3.43)))
inv_pi_d2.add(gdstk.Reference(via_stack_1, (4.95,3.43)))
inv_pi_d2.add(gdstk.Reference(via_stack_1_1, (2.91,3.43)))
inv_pi_d2.add(gdstk.Reference(via_stack_1_1, (4.95,3.43)))
inv_pi_d2.add(gdstk.Reference(via_stack_1_2, (2.91,3.43)))
inv_pi_d2.add(gdstk.Reference(via_stack_1_2, (4.95,3.43)))
inv_pi_d2.add(gdstk.Reference(via_stack_1_3, (2.91,3.43)))
inv_pi_d2.add(gdstk.Reference(via_stack_1_3, (4.95,3.43)))
inv_pi_d2.add(gdstk.Label('VIN', (2.865,3.405), layer=8, texttype=25))
inv_pi_d2.add(gdstk.Label('VOUT', (3.28,3.775), layer=8, texttype=25))
inv_pi_d2.add(gdstk.Label('VDD', (3.6,4.765), layer=8, texttype=25))
inv_pi_d2.add(gdstk.Label('VSS', (3.6,2.36), layer=8, texttype=25))
inv_pi_d2.add(gdstk.Label('VIN', (2.865,3.405), layer=8, texttype=25))
inv_pi_d2.add(gdstk.Label('VOUT', (3.28,3.775), layer=8, texttype=25))
inv_pi_d2.add(gdstk.Label('VDD', (3.6,4.765), layer=8, texttype=25))
inv_pi_d2.add(gdstk.Label('VSS', (3.6,2.36), layer=8, texttype=25))
inv_pi_d2.add(gdstk.Label('VIN', (2.865,3.405), layer=8, texttype=25))
inv_pi_d2.add(gdstk.Label('VOUT', (3.28,3.775), layer=8, texttype=25))
inv_pi_d2.add(gdstk.Label('VDD', (3.6,4.765), layer=8, texttype=25))
inv_pi_d2.add(gdstk.Label('VSS', (3.6,2.36), layer=8, texttype=25))
inv_pi_d2.add(gdstk.Label('VIN', (2.865,3.405), layer=8, texttype=25))
inv_pi_d2.add(gdstk.Label('VOUT', (3.28,3.775), layer=8, texttype=25))
inv_pi_d2.add(gdstk.Label('VDD', (3.6,4.765), layer=8, texttype=25))
inv_pi_d2.add(gdstk.Label('VSS', (3.6,2.36), layer=8, texttype=25))

inv_pi_d4 = lib.new_cell('inv_PI_d4')
R(inv_pi_d4, Metal1, [(4.985,3.715,7.21,3.875), (4.985,3.715,7.21,3.875)])
R(inv_pi_d4, Metal2, [(4.82,3.325,7.395,3.535), (4.82,3.325,7.395,3.535)])
inv_pi_d4.add(gdstk.Reference(inv_pi_d2, (0,0)))
inv_pi_d4.add(gdstk.Reference(inv_pi_d2, (4.34,0)))
inv_pi_d4.add(gdstk.Label('VSS', (5.305,2.38), layer=8, texttype=25))
inv_pi_d4.add(gdstk.Label('VDD', (5.785,4.77), layer=8, texttype=25))
inv_pi_d4.add(gdstk.Label('VIN', (4.855,3.39), layer=8, texttype=25))
inv_pi_d4.add(gdstk.Label('VOUT', (4.58,3.775), layer=8, texttype=25))
inv_pi_d4.add(gdstk.Label('VSS', (5.305,2.38), layer=8, texttype=25))
inv_pi_d4.add(gdstk.Label('VDD', (5.785,4.77), layer=8, texttype=25))
inv_pi_d4.add(gdstk.Label('VIN', (4.855,3.39), layer=8, texttype=25))
inv_pi_d4.add(gdstk.Label('VOUT', (4.58,3.775), layer=8, texttype=25))

via_stack = lib.new_cell('via_stack')
R(via_stack, Metal1, [(-0.35,-0.105,0.35,0.105)])
R(via_stack, Metal2, [(-0.35,-0.1,0.35,0.1)])
R(via_stack, Via1, [(-0.3,-0.095,-0.11,0.095), (0.11,-0.095,0.3,0.095)])
R(via_stack, Via2, [(-0.3,-0.095,-0.11,0.095), (0.11,-0.095,0.3,0.095)])
R(via_stack, Metal3, [(-0.35,-0.1,0.35,0.1)])

via_stack_2 = lib.new_cell('via_stack$2')
R(via_stack_2, Metal1, [(-0.35,-0.105,0.35,0.105)])
R(via_stack_2, Metal2, [(-0.35,-0.1,0.35,0.1)])
R(via_stack_2, Via1, [(-0.3,-0.095,-0.11,0.095), (0.11,-0.095,0.3,0.095)])
R(via_stack_2, Via2, [(-0.3,-0.095,-0.11,0.095), (0.11,-0.095,0.3,0.095)])
R(via_stack_2, Metal3, [(-0.35,-0.1,0.35,0.1)])
R(via_stack_2, Via3, [(-0.3,-0.095,-0.11,0.095), (0.11,-0.095,0.3,0.095)])
R(via_stack_2, Metal4, [(-0.35,-0.1,0.35,0.1)])

inv_pi_d8 = lib.new_cell('inv_PI_d8')
R(inv_pi_d8, Metal1, [(9.33,3.715,10.78,3.875), (10.62,3.715,10.78,6.785), (9.325,6.625,10.78,6.785)])
R(inv_pi_d8, Metal1_pin, [(10.62,3.715,10.78,6.785)])
R(inv_pi_d8, Metal2, [(5.955,3.325,6.255,6.445)])
R(inv_pi_d8, Metal2_pin, [(5.955,3.325,6.255,6.445)])
R(inv_pi_d8, Metal3, [(2,2.295,2.4,5.41), (3.65,2.295,4.05,5.41), (7.99,2.295,8.38,5.41), (9.685,2.295,10.085,5.41)])
R(inv_pi_d8, Metal4, [(2.865,4.71,3.265,7.805), (4.585,4.71,4.985,7.805), (7.23,4.71,7.63,7.805), (8.925,4.71,9.325,7.805)])
inv_pi_d8.add(gdstk.Reference(inv_pi_d4, (0,0)))
inv_pi_d8.add(gdstk.Reference(inv_pi_d4, (0,2.91)))
inv_pi_d8.add(gdstk.Reference(via_stack, (8.18,2.4)))
inv_pi_d8.add(gdstk.Reference(via_stack, (8.18,5.31)))
inv_pi_d8.add(gdstk.Reference(via_stack, (3.84,2.4)))
inv_pi_d8.add(gdstk.Reference(via_stack, (2.21,2.4)))
inv_pi_d8.add(gdstk.Reference(via_stack, (3.84,5.31)))
inv_pi_d8.add(gdstk.Reference(via_stack, (9.89,5.305)))
inv_pi_d8.add(gdstk.Reference(via_stack, (9.89,2.395)))
inv_pi_d8.add(gdstk.Reference(via_stack, (2.21,5.31)))
inv_pi_d8.add(gdstk.Reference(via_stack_2, (7.415,4.795)))
inv_pi_d8.add(gdstk.Reference(via_stack_2, (9.125,7.705)))
inv_pi_d8.add(gdstk.Reference(via_stack_2, (9.125,4.795)))
inv_pi_d8.add(gdstk.Reference(via_stack_2, (7.415,7.705)))
inv_pi_d8.add(gdstk.Reference(via_stack_2, (4.785,4.795)))
inv_pi_d8.add(gdstk.Reference(via_stack_2, (4.785,7.705)))
inv_pi_d8.add(gdstk.Reference(via_stack_2, (3.075,7.705)))
inv_pi_d8.add(gdstk.Reference(via_stack_2, (3.075,4.795)))
inv_pi_d8.add(gdstk.Label('VDD', (4.675,7.625), layer=8, texttype=25))
inv_pi_d8.add(gdstk.Label('VDD', (2.94,7.625), layer=8, texttype=25))
inv_pi_d8.add(gdstk.Label('VDD', (7.29,7.625), layer=8, texttype=25))
inv_pi_d8.add(gdstk.Label('VDD', (9.01,7.625), layer=8, texttype=25))
inv_pi_d8.add(gdstk.Label('VOUT', (10.65,6.385), layer=8, texttype=25))
inv_pi_d8.add(gdstk.Label('VSS', (5.74,2.315), layer=8, texttype=25))
inv_pi_d8.add(gdstk.Label('VDD', (5.74,7.625), layer=8, texttype=25))
inv_pi_d8.add(gdstk.Label('VIN', (6.015,5.88), layer=10, texttype=25))

inv_pi_d16 = lib.new_cell('inv_PI_d16')
R(inv_pi_d16, Activ, [(10.275,2.245,11.075,2.545), (10.065,7.555,11.34,7.855)])
R(inv_pi_d16, Cont, [(10.555,2.315,10.825,2.485), (10.555,7.625,10.815,7.795)])
R(inv_pi_d16, Metal1, [(10.275,2.245,11.085,2.545), (10.05,7.555,11.345,7.855)])
R(inv_pi_d16, Metal1_pin, [(10.27,2.245,11.1,2.545), (10.055,7.555,11.345,7.855)])
R(inv_pi_d16, pSD, [(10.275,2.245,11.08,2.545)])
R(inv_pi_d16, Metal3, [(5.755,6.24,15.64,6.44)])
R(inv_pi_d16, NWell, [(10.065,7.555,11.345,7.855)])
R(inv_pi_d16, Metal4, [(5.755,3.33,15.64,3.53)])
inv_pi_d16.add(gdstk.Reference(inv_pi_d8, (0,0)))
inv_pi_d16.add(gdstk.Reference(inv_pi_d8, (21.4,0), rotation=pi, x_reflection=True))
inv_pi_d16.add(gdstk.Reference(via_stack, (6.105,6.34)))
inv_pi_d16.add(gdstk.Reference(via_stack, (15.29,6.34)))
inv_pi_d16.add(gdstk.Reference(via_stack_2, (6.105,3.43)))
inv_pi_d16.add(gdstk.Reference(via_stack_2, (15.29,3.43)))
inv_pi_d16.add(gdstk.Label('VDD', (9.57,7.62), layer=8, texttype=25))
inv_pi_d16.add(gdstk.Label('VDD', (10.645,7.71), layer=8, texttype=25))
inv_pi_d16.add(gdstk.Label('VSS', (9.01,2.31), layer=8, texttype=25))
inv_pi_d16.add(gdstk.Label('VSS', (12.16,2.31), layer=8, texttype=25))
inv_pi_d16.add(gdstk.Label('VOUT', (10.655,6.12), layer=8, texttype=25))
inv_pi_d16.add(gdstk.Label('VIN', (5.955,5.715), layer=10, texttype=25))
inv_pi_d16.add(gdstk.Label('VIN', (15.145,5.795), layer=10, texttype=25))

lib.write_gds('inv_PI_d16.gds')
